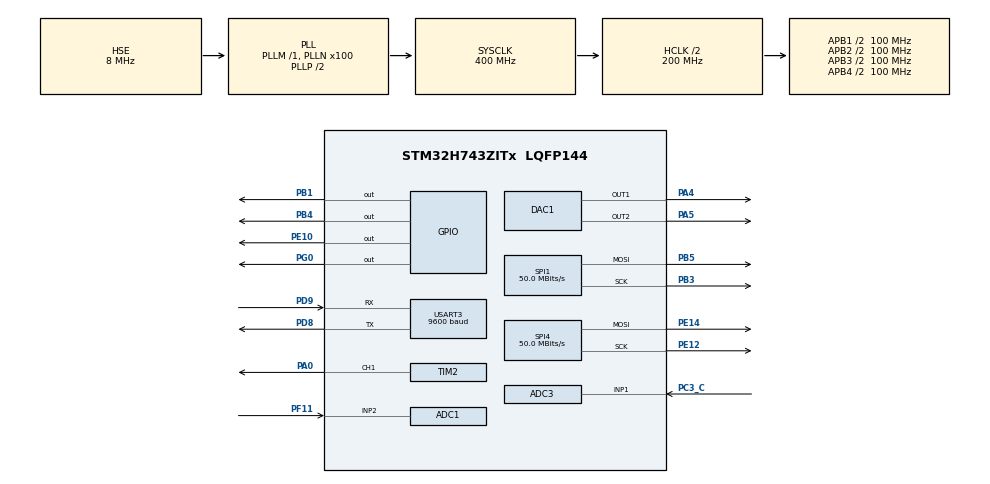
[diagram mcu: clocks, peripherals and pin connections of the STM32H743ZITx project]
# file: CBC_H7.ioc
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ADC1.BoostMode=DISABLE
ADC1.Channel-0\#ChannelRegularConversion=ADC_CHANNEL_2
ADC1.ClockPrescaler=ADC_CLOCK_ASYNC_DIV1
ADC1.ContinuousConvMode=ENABLE
ADC1.ConversionDataManagement=ADC_CONVERSIONDATA_DMA_CIRCULAR
ADC1.DiscontinuousConvMode=DISABLE
ADC1.EOCSelection=ADC_EOC_SINGLE_CONV
ADC1.EnableAnalogWatchDog1=false
ADC1.EnableAnalogWatchDog2=false
ADC1.EnableAnalogWatchDog3=false
ADC1.EnableInjectedConversion=DISABLE
ADC1.EnableRegularConversion=ENABLE
ADC1.ExternalTrigConv=ADC_SOFTWARE_START
ADC1.ExternalTrigConvEdge=ADC_EXTERNALTRIGCONVEDGE_NONE
ADC1.LeftBitShift=ADC_LEFTBITSHIFT_NONE
ADC1.LowPowerAutoWait=DISABLE
ADC1.NbrOfConversion=1
ADC1.NbrOfConversionFlag=1
ADC1.OffsetNumber-0\#ChannelRegularConversion=ADC_OFFSET_NONE
ADC1.Overrun=ADC_OVR_DATA_PRESERVED
ADC1.OversamplingMode=DISABLE
ADC1.Rank-0\#ChannelRegularConversion=1
ADC1.Resolution=ADC_RESOLUTION_16B
ADC1.SamplingTime-0\#ChannelRegularConversion=ADC_SAMPLETIME_1CYCLE_5
ADC1.ScanConvMode=ADC_SCAN_DISABLE
ADC1.master=1
ADC3.Channel-3\#ChannelRegularConversion=ADC_CHANNEL_1
ADC3.NbrOfConversionFlag=1
ADC3.OffsetNumber-3\#ChannelRegularConversion=ADC_OFFSET_NONE
ADC3.Rank-3\#ChannelRegularConversion=1
ADC3.SamplingTime-3\#ChannelRegularConversion=ADC_SAMPLETIME_1CYCLE_5
CORTEX_M7.CPU_DCache=Disabled
DAC1.DAC_Channel-DAC_OUT1=DAC_CHANNEL_1
DAC1.DAC_Channel-DAC_OUT2=DAC_CHANNEL_2
DAC1.DAC_Trigger-DAC_OUT1=DAC_TRIGGER_T2_TRGO
DAC1.DAC_Trigger-DAC_OUT2=DAC_TRIGGER_T2_TRGO
Dma.ADC1.0.Direction=DMA_PERIPH_TO_MEMORY
Dma.ADC1.0.EventEnable=DISABLE
Dma.ADC1.0.FIFOMode=DMA_FIFOMODE_DISABLE
Dma.ADC1.0.Instance=DMA1_Stream0
Dma.ADC1.0.MemDataAlignment=DMA_MDATAALIGN_WORD
Dma.ADC1.0.MemInc=DMA_MINC_ENABLE
Dma.ADC1.0.Mode=DMA_CIRCULAR
Dma.ADC1.0.PeriphDataAlignment=DMA_PDATAALIGN_WORD
Dma.ADC1.0.PeriphInc=DMA_PINC_DISABLE
Dma.ADC1.0.Polarity=HAL_DMAMUX_REQ_GEN_RISING
Dma.ADC1.0.Priority=DMA_PRIORITY_VERY_HIGH
Dma.ADC1.0.RequestNumber=1
Dma.ADC1.0.SignalID=NONE
Dma.ADC1.0.SyncEnable=DISABLE
Dma.ADC1.0.SyncPolarity=HAL_DMAMUX_SYNC_NO_EVENT
Dma.ADC1.0.SyncRequestNumber=1
Dma.ADC1.0.SyncSignalID=NONE
Dma.Request0=ADC1
Dma.Request1=USART3_RX
Dma.Request2=USART3_TX
Dma.USART3_RX.1.Direction=DMA_PERIPH_TO_MEMORY
Dma.USART3_RX.1.EventEnable=DISABLE
Dma.USART3_RX.1.FIFOMode=DMA_FIFOMODE_DISABLE
Dma.USART3_RX.1.Instance=DMA1_Stream1
Dma.USART3_RX.1.MemDataAlignment=DMA_MDATAALIGN_BYTE
Dma.USART3_RX.1.MemInc=DMA_MINC_ENABLE
Dma.USART3_RX.1.Mode=DMA_CIRCULAR
Dma.USART3_RX.1.PeriphDataAlignment=DMA_PDATAALIGN_BYTE
Dma.USART3_RX.1.PeriphInc=DMA_PINC_DISABLE
Dma.USART3_RX.1.Polarity=HAL_DMAMUX_REQ_GEN_RISING
Dma.USART3_RX.1.Priority=DMA_PRIORITY_LOW
Dma.USART3_RX.1.RequestNumber=1
Dma.USART3_RX.1.SignalID=NONE
Dma.USART3_RX.1.SyncEnable=DISABLE
Dma.USART3_RX.1.SyncPolarity=HAL_DMAMUX_SYNC_NO_EVENT
Dma.USART3_RX.1.SyncRequestNumber=1
Dma.USART3_RX.1.SyncSignalID=NONE
Dma.USART3_TX.2.Direction=DMA_MEMORY_TO_PERIPH
Dma.USART3_TX.2.EventEnable=DISABLE
Dma.USART3_TX.2.FIFOMode=DMA_FIFOMODE_DISABLE
Dma.USART3_TX.2.Instance=DMA1_Stream2
Dma.USART3_TX.2.MemDataAlignment=DMA_MDATAALIGN_BYTE
Dma.USART3_TX.2.MemInc=DMA_MINC_ENABLE
Dma.USART3_TX.2.Mode=DMA_NORMAL
Dma.USART3_TX.2.PeriphDataAlignment=DMA_PDATAALIGN_BYTE
Dma.USART3_TX.2.PeriphInc=DMA_PINC_DISABLE
Dma.USART3_TX.2.Polarity=HAL_DMAMUX_REQ_GEN_RISING
Dma.USART3_TX.2.Priority=DMA_PRIORITY_LOW
Dma.USART3_TX.2.RequestNumber=1
Dma.USART3_TX.2.SignalID=NONE
Dma.USART3_TX.2.SyncEnable=DISABLE
Dma.USART3_TX.2.SyncPolarity=HAL_DMAMUX_SYNC_NO_EVENT
Dma.USART3_TX.2.SyncRequestNumber=1
Dma.USART3_TX.2.SyncSignalID=NONE
Mcu.Family=STM32H7
Mcu.Name=STM32H743ZITx
Mcu.Package=LQFP144
NVIC.DMA1_Stream0_IRQn=true\:2\:0\:true\:false\:true\:false\:true
NVIC.DMA1_Stream1_IRQn=true\:0\:0\:false\:false\:true\:false\:true
NVIC.DMA1_Stream2_IRQn=true\:1\:0\:true\:false\:true\:false\:true
NVIC.PriorityGroup=NVIC_PRIORITYGROUP_4
NVIC.TIM2_IRQn=true\:1\:0\:true\:false\:true\:true\:true
NVIC.USART3_IRQn=true\:0\:0\:true\:false\:true\:true\:true
PA0.Signal=S_TIM2_CH1
PA13\ (JTMS/SWDIO).Mode=Serial_Wire
PA13\ (JTMS/SWDIO).Signal=DEBUG_JTMS-SWDIO
PA14\ (JTCK/SWCLK).Mode=Serial_Wire
PA14\ (JTCK/SWCLK).Signal=DEBUG_JTCK-SWCLK
PA4.Signal=COMP_DAC11_group
PA5.Signal=COMP_DAC12_group
PB1.GPIO_ModeDefaultOutputPP=GPIO_MODE_OUTPUT_PP
PB1.GPIO_PuPd=GPIO_PULLDOWN
PB1.GPIO_Speed=GPIO_SPEED_FREQ_VERY_HIGH
PB1.Signal=GPIO_Output
PB3\ (JTDO/TRACESWO).Mode=TX_Only_Simplex_Unidirect_Master
PB3\ (JTDO/TRACESWO).Signal=SPI1_SCK
PB4\ (NJTRST).GPIO_Speed=GPIO_SPEED_FREQ_HIGH
PB4\ (NJTRST).PinState=GPIO_PIN_SET
PB4\ (NJTRST).Signal=GPIO_Output
PB5.Mode=TX_Only_Simplex_Unidirect_Master
PB5.Signal=SPI1_MOSI
PC3_C.Mode=IN1-Single-Ended
PC3_C.Signal=ADC3_INP1
PD8.Mode=Asynchronous
PD8.Signal=USART3_TX
PD9.Mode=Asynchronous
PD9.Signal=USART3_RX
PE10.PinState=GPIO_PIN_SET
PE10.Signal=GPIO_Output
PE12.Mode=TX_Only_Simplex_Unidirect_Master
PE12.Signal=SPI4_SCK
PE14.Mode=TX_Only_Simplex_Unidirect_Master
PE14.Signal=SPI4_MOSI
PF11.Mode=IN2-Single-Ended
PF11.Signal=ADC1_INP2
PG0.Signal=GPIO_Output
PH0-OSC_IN\ (PH0).Mode=HSE-External-Oscillator
PH0-OSC_IN\ (PH0).Signal=RCC_OSC_IN
PH1-OSC_OUT\ (PH1).Mode=HSE-External-Oscillator
PH1-OSC_OUT\ (PH1).Signal=RCC_OSC_OUT
ProjectManager.HeapSize=0x3000
ProjectManager.StackSize=0x400
ProjectManager.TargetToolchain=TrueSTUDIO
RCC.ADCCLockSelection=RCC_ADCCLKSOURCE_PLL3
RCC.ADCFreq_Value=66666666.666666664
RCC.APB1Freq_Value=100000000
RCC.APB2Freq_Value=100000000
RCC.APB3Freq_Value=100000000
RCC.APB4Freq_Value=100000000
RCC.CortexFreq_Value=400000000
RCC.D1PPRE=RCC_APB3_DIV2
RCC.D2PPRE1=RCC_APB1_DIV2
RCC.D2PPRE2=RCC_APB2_DIV2
RCC.D3PPRE=RCC_APB4_DIV2
RCC.DIVM1=1
RCC.DIVM2=1
RCC.DIVM3=1
RCC.DIVN1=100
RCC.DIVN2=19
RCC.DIVN3=25
RCC.DIVP3=1
RCC.DIVR3=3
RCC.HCLKFreq_Value=200000000
RCC.HPRE=RCC_HCLK_DIV2
RCC.HSE_VALUE=8000000
RCC.PLL3FRACN=0
RCC.PLLFRACN=0
RCC.PLLSourceVirtual=RCC_PLLSOURCE_HSE
RCC.PWR_Regulator_Voltage_Scale=PWR_REGULATOR_VOLTAGE_SCALE1
RCC.RCC_TIM_PRescaler_Selection=RCC_TIMPRES_ACTIVATED
RCC.SPI123CLockSelection=RCC_SPI123CLKSOURCE_PLL3
RCC.SYSCLKFreq_VALUE=400000000
RCC.SYSCLKSource=RCC_SYSCLKSOURCE_PLLCLK
RCC.Tim1Mul=2
RCC.USBFreq_Value=400000000
SH.COMP_DAC11_group.0=DAC1_OUT1,DAC_OUT1
SH.COMP_DAC12_group.0=DAC1_OUT2,DAC_OUT2
SH.S_TIM2_CH1.0=TIM2_CH1,PWM Generation1 CH1
SPI1.BaudRatePrescaler=SPI_BAUDRATEPRESCALER_4
SPI1.CalculateBaudRate=50.0 MBits/s
SPI1.DataSize=SPI_DATASIZE_16BIT
SPI1.Direction=SPI_DIRECTION_2LINES_TXONLY
SPI1.MasterInterDataIdleness=SPI_MASTER_INTERDATA_IDLENESS_00CYCLE
SPI1.Mode=SPI_MODE_MASTER
SPI1.NSSPMode=SPI_NSS_PULSE_DISABLE
SPI1.VirtualType=VM_MASTER
SPI4.BaudRatePrescaler=SPI_BAUDRATEPRESCALER_2
SPI4.CLKPolarity=SPI_POLARITY_HIGH
SPI4.CalculateBaudRate=50.0 MBits/s
SPI4.Direction=SPI_DIRECTION_2LINES_TXONLY
SPI4.Mode=SPI_MODE_MASTER
SPI4.VirtualType=VM_MASTER
TIM2.Channel-PWM\ Generation1\ CH1=TIM_CHANNEL_1
TIM2.Pulse-PWM\ Generation1\ CH1=2
TIM2.TIM_MasterOutputTrigger=TIM_TRGO_UPDATE
USART3.BaudRate=9600
USART3.VirtualMode-Asynchronous=VM_ASYNC
VP_TIM2_VS_ClockSourceINT.Mode=Internal
board=custom

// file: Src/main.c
/* USER CODE BEGIN Header */
/**
  ******************************************************************************
  * @file           : main.c
  * @brief          : Main program body
  ******************************************************************************
  * @attention
  *
  * <h2><center>&copy; Copyright (c) 2021 STMicroelectronics.
  * All rights reserved.</center></h2>
  *
  * This software component is licensed by ST under BSD 3-Clause license,
  * the "License"; You may not use this file except in compliance with the
  * License. You may obtain a copy of the License at:
  *                        opensource.org/licenses/BSD-3-Clause
  *
  ******************************************************************************
  */
/* USER CODE END Header */
#include "main.h"
#include "adc.h"
#include "dac.h"
#include "dma.h"
#include "spi.h"
#include "tim.h"
#include "usart.h"
#include "gpio.h"

/* USER CODE BEGIN PV */
#define DAC_ALIGNMENT DAC_ALIGN_12B_R
#define hdac hdac1
#define TIM2PSC 0
uint32_t adc_value=0;
uint32_t dacvalue=0;
double volt_value=0;
uint32_t Tim2ARR;
uint32_t ADCBuf[2];
uint16_t  pData; //{0x7530};  //3952
uint32_t   acValBuffer;
uint16_t DACoutput1;
uint16_t DACoutput2;
uint16_t li;
double paramFreq;
double   PT_Anf=0;
double   PT_End =0;
double   duration =0;
tPID* 		 pPID1       =   &InstancePID1;
tPID* 		 pPID2       =   &InstancePID2;
uint8_t PIDInputOption = 1;
double LockInOutput = 0.0;
double yout;
uint16_t charI[16];
uint16_t hexString;
uint16_t pdata;
uint16_t li;
uint16_t spi_data = 0x0;
__IO uint16_t *ptxdr_16bits = (uint16_t*)&SPI1->TXDR; // for 16-bit-write

/* USER CODE END PV */

void SystemClock_Config(void);
void PeriphCommonClock_Config(void);

/* USER CODE BEGIN 0 */
void HAL_TIM_PeriodElapsedCallback(TIM_HandleTypeDef *htim)
{
		PT_Anf =PT_End;
		adc_value =(float)ADCBuf[0];
		volt_value=3.3f*((float)(adc_value)/65536); // single ended mode
		PID_Calc(pPID1,PIDInputOption, volt_value,LockInOutput);
		DACoutput1 = (uint16_t)(InstancePID1.outvalue*VOLT2DIG12BIT);
		DACoutput2 = (uint16_t)(InstancePID1.outvalue*VOLT2DIG12BIT);
		HAL_GPIO_TogglePin(GPIOG,GPIO_PIN_0);
		//HAL_DAC_SetValue(&hdac, DAC_CHANNEL_1, DAC_ALIGNMENT, (uint32_t)DACoutput1);
		//HAL_DAC_SetValue(&hdac, DAC_CHANNEL_2, DAC_ALIGNMENT, (uint32_t)DACoutput1);
		//HAL_StatusTypeDef HAL_SPI_TransmitReceive(SPI_HandleTypeDef *hspi, uint8_t *pTxData, uint8_t *pRxData, uint16_t Size,

		//pData = (uint16_t)ADCBuf[0];

		//itoa(pData, hexString, 16);
/*		__IO uint16_t *ptxdr_16bits = (uint16_t*)&SPI1->TXDR; // for 16-bit-write
		SPI1->CR1 |= SPI_CR1_SPE_Msk;    // enable SPI
		SPI1->CR1 |= SPI_CR1_CSTART_Msk; // master transfer start
		while (1)
		  {
		         GPIOB->BSRR = GPIO_PIN_4 << 16; // Reset
		         *ptxdr_16bits = pData++;
		         while( !(SPI1->SR & SPI_SR_TXC_Msk));  // check if FiFo transmission complete
		         GPIOB->BSRR = GPIO_PIN_4; // Set
		  }*/

		//HAL_GPIO_WritePin(GPIOB, GPIO_PIN_4, GPIO_PIN_RESET);
		//HAL_SPI_Transmit(&hspi1, (uint8_t *)pData, 1, 1);
		//HAL_GPIO_WritePin(GPIOB, GPIO_PIN_4, GPIO_PIN_SET);
		if (li<2)
		{
			li +=1;
			spi_data=0xAAAA;
		}
		else if (li>=2 && li<3)
		{
			li +=1;
			spi_data =0x000F;
		}
		else
		{
			li =0;
		}
		SPI1_transmit(spi_data);
		PT_End =DWT->CYCCNT;
		duration = PT_End-PT_Anf;
        HAL_GPIO_WritePin(GPIOB,GPIO_PIN_1, GPIO_PIN_RESET);
}
/* USER CODE END 0 */

int main(void)
{

  /* MCU Configuration--------------------------------------------------------*/

  /* Reset of all peripherals, Initializes the Flash interface and the Systick. */
  HAL_Init();

  /* Configure the system clock */
  SystemClock_Config();

/* Configure the peripherals common clocks */
  PeriphCommonClock_Config();

  /* Initialize all configured peripherals */
  MX_GPIO_Init();
  MX_DMA_Init();
  MX_DAC1_Init();
  MX_ADC1_Init();
  MX_USART3_UART_Init();
  MX_ADC3_Init();
  MX_TIM2_Init();
  MX_SPI1_Init();
  MX_SPI4_Init();
  /* USER CODE BEGIN 2 */
  CoreDebug->DEMCR |= CoreDebug_DEMCR_TRCENA_Msk;
  DWT->CTRL |= 1;
  Tim2ARR=200e6 / CTRLFREQUENCY-1;
  __HAL_TIM_SET_PRESCALER(&htim2, TIM2PSC);
  __HAL_TIM_SET_AUTORELOAD(&htim2,  Tim2ARR);
  paramFreq = CTRLFREQUENCY;
  PID_vInit(pPID1);
  /* USER CODE BEGIN 1 */
	 // HAL_TIM_PWM_Start(&htim4, TIM_CHANNEL_1);
  //HAL_TIM_PWM_Start(&htim2, TIM_CHANNEL_1);
	      /* Start DAC */
  //HAL_ADC_Start_DMA(&hadc1,ADCBuf,2);
  SPI1_start();
  HAL_TIM_Base_Start_IT(&htim2);
  //HAL_DAC_Start(&hdac, DAC_CHANNEL_2);
  //HAL_DAC_Start(&hdac, DAC_CHANNEL_1);
  //HAL_UART_Receive_DMA(&huart3,aRxBuffer,RXBUFFERSIZE);
 // HAL_SPI_Transmit_DMA(&hspi1, pData,2);
  /* USER CODE END 2 */

  /* Infinite loop */
  while (1)
  {

  }
}

void SystemClock_Config(void)
{
  RCC_OscInitTypeDef RCC_OscInitStruct = {0};
  RCC_ClkInitTypeDef RCC_ClkInitStruct = {0};

  /** Supply configuration update enable
  */
  HAL_PWREx_ConfigSupply(PWR_LDO_SUPPLY);
  /** Configure the main internal regulator output voltage
  */
  __HAL_PWR_VOLTAGESCALING_CONFIG(PWR_REGULATOR_VOLTAGE_SCALE1);

  while(!__HAL_PWR_GET_FLAG(PWR_FLAG_VOSRDY)) {}
  /** Macro to configure the PLL clock source
  */
  __HAL_RCC_PLL_PLLSOURCE_CONFIG(RCC_PLLSOURCE_HSE);
  /** Initializes the RCC Oscillators according to the specified parameters
  * in the RCC_OscInitTypeDef structure.
  */
  RCC_OscInitStruct.OscillatorType = RCC_OSCILLATORTYPE_HSE;
  RCC_OscInitStruct.HSEState = RCC_HSE_ON;
  RCC_OscInitStruct.PLL.PLLState = RCC_PLL_ON;
  RCC_OscInitStruct.PLL.PLLSource = RCC_PLLSOURCE_HSE;
  RCC_OscInitStruct.PLL.PLLM = 1;
  RCC_OscInitStruct.PLL.PLLN = 100;
  RCC_OscInitStruct.PLL.PLLP = 2;
  RCC_OscInitStruct.PLL.PLLQ = 2;
  RCC_OscInitStruct.PLL.PLLR = 2;
  RCC_OscInitStruct.PLL.PLLRGE = RCC_PLL1VCIRANGE_3;
  RCC_OscInitStruct.PLL.PLLVCOSEL = RCC_PLL1VCOWIDE;
  RCC_OscInitStruct.PLL.PLLFRACN = 0;
  if (HAL_RCC_OscConfig(&RCC_OscInitStruct) != HAL_OK)
  {
    Error_Handler();
  }
  /** Initializes the CPU, AHB and APB buses clocks
  */
  RCC_ClkInitStruct.ClockType = RCC_CLOCKTYPE_HCLK|RCC_CLOCKTYPE_SYSCLK
                              |RCC_CLOCKTYPE_PCLK1|RCC_CLOCKTYPE_PCLK2
                              |RCC_CLOCKTYPE_D3PCLK1|RCC_CLOCKTYPE_D1PCLK1;
  RCC_ClkInitStruct.SYSCLKSource = RCC_SYSCLKSOURCE_PLLCLK;
  RCC_ClkInitStruct.SYSCLKDivider = RCC_SYSCLK_DIV1;
  RCC_ClkInitStruct.AHBCLKDivider = RCC_HCLK_DIV2;
  RCC_ClkInitStruct.APB3CLKDivider = RCC_APB3_DIV2;
  RCC_ClkInitStruct.APB1CLKDivider = RCC_APB1_DIV2;
  RCC_ClkInitStruct.APB2CLKDivider = RCC_APB2_DIV2;
  RCC_ClkInitStruct.APB4CLKDivider = RCC_APB4_DIV2;

  if (HAL_RCC_ClockConfig(&RCC_ClkInitStruct, FLASH_LATENCY_2) != HAL_OK)
  {
    Error_Handler();
  }
}

void PeriphCommonClock_Config(void)
{
  RCC_PeriphCLKInitTypeDef PeriphClkInitStruct = {0};

  /** Initializes the peripherals clock
  */
  PeriphClkInitStruct.PeriphClockSelection = RCC_PERIPHCLK_ADC|RCC_PERIPHCLK_SPI1
                              |RCC_PERIPHCLK_TIM;
  PeriphClkInitStruct.PLL3.PLL3M = 1;
  PeriphClkInitStruct.PLL3.PLL3N = 25;
  PeriphClkInitStruct.PLL3.PLL3P = 1;
  PeriphClkInitStruct.PLL3.PLL3Q = 2;
  PeriphClkInitStruct.PLL3.PLL3R = 3;
  PeriphClkInitStruct.PLL3.PLL3RGE = RCC_PLL3VCIRANGE_3;
  PeriphClkInitStruct.PLL3.PLL3VCOSEL = RCC_PLL3VCOWIDE;
  PeriphClkInitStruct.PLL3.PLL3FRACN = 0;
  PeriphClkInitStruct.Spi123ClockSelection = RCC_SPI123CLKSOURCE_PLL3;
  PeriphClkInitStruct.AdcClockSelection = RCC_ADCCLKSOURCE_PLL3;
  PeriphClkInitStruct.TIMPresSelection = RCC_TIMPRES_ACTIVATED;

  if (HAL_RCCEx_PeriphCLKConfig(&PeriphClkInitStruct) != HAL_OK)
  {
    Error_Handler();
  }
}

/* USER CODE BEGIN 4 */
void HAL_TIM_IRQHandler1(TIM_HandleTypeDef *htim)
{

  /* TIM Update event */
  if(__HAL_TIM_GET_FLAG(htim, TIM_FLAG_UPDATE) != RESET)
  {
    if(__HAL_TIM_GET_IT_SOURCE(htim, TIM_IT_UPDATE) !=RESET)
    {
      __HAL_TIM_CLEAR_IT(htim, TIM_IT_UPDATE);
      HAL_TIM_PeriodElapsedCallback(htim);
    }
  }
}
/* USER CODE END 4 */

void Error_Handler(void)
{
  __disable_irq();
  while (1)
  {
  }
}

float PIDInputSWitch(uint8_t PIDInputOption, float ADCvalue,float LockIn)
{
	 float PIDInput;
	 if (PIDInputOption == 0)
			 {
	 	 	 	 PIDInput=LockIn;
			 }
	else
			{
				PIDInput =ADCvalue;
			}
	 return(PIDInput);
}
void PID_vInit(tPID* pPID)
{                                          ///< Zeiger auf Reglerstruktur
	pPID->_Ts 				= 		1/CTRLFREQUENCY;
	pPID-> _Kp				= 		0.2;
	pPID-> _Ki				= 		0;
	pPID-> _Kd				= 		0.0;
	pPID-> _max				= 		3;
	pPID-> _min				= 		-3;
	pPID-> _Kaw				= 		0.0;
	pPID-> _EnKc			= 		1;
	pPID-> _fc				= 		10;
    pPID-> _PIDHold			= 		0.0;
	pPID->error             =        0;
	pPID->error_1lag        =        0;
	pPID->error_2lag        =        0;
	pPID->error_AnWi        =        0;
	pPID->preout            =        0;
	pPID->_kt               =        -1;
	pPID->En                =        1.0;
	pPID->ref               =       0.0;
	pPID->a0                =        0.0;
	pPID->a1 				= 		0.0;
	pPID->a2      			= 		0.0;
	pPID->aw				=		0.0;
	pPID->omega 			=		0;
	pPID->a0 				= 		pPID-> _Kp+pPID-> _Kd/V2MUV/pPID->_Ts+pPID->_Ki*V2MV*pPID->_Ts;
	pPID->a1 				= 		-(pPID-> _Kp+pPID-> _Kd/V2MUV/pPID->_Ts*2.0);
	pPID->a2 				=		pPID->_Kd/V2MUV/pPID->_Ts;
	pPID->aw   				=		pPID->_Kaw*pPID->_Ts;
};
void PID_Calc(tPID* pPID,uint8_t PIDInputOption, double ADCvalue,double LockIn)
{
	double 			output;
	double 			outputsat;
	double          pd;
	pd          				= 	PIDInputSWitch(PIDInputOption, ADCvalue, LockIn);
	pPID->error = (pPID->ref - pd)*pPID->_kt;
	if (pPID->En>=1)
	{
		output = (pPID->preout+pPID->a0*pPID->error + pPID->a1*pPID->error_1lag + pPID->a2*pPID->error_2lag+pPID->aw*pPID->error_AnWi)/(1+pPID->omega*pPID->_Ts);
	}
	else
	{
		output = 0;
		pPID->error             =        0;
		pPID->error_1lag        =        0;
		pPID->error_2lag        =        0;
		pPID->preout            =        0;
	}
//	if( output > pPID->_max*3)
//		{
//		   output = 3*pPID->_max;
//		}
//	if( output < pPID->_min*3 )
//			{
//			   output = 3*pPID->_min;
//			}
	pPID->preout = output;
	    // Restrict to max/min
	if( output > pPID->_max )
	{
	   outputsat = pPID->_max;
	}
	else if( output < pPID->_min )
	{
	   outputsat = pPID->_min;
	}
	else
	{
	   outputsat = output;
	}
	pPID->error_AnWi              =   outputsat-output;
	    // Save error to previous error
	pPID->error_2lag = pPID->error_1lag;
	pPID->error_1lag = pPID->error;
//   tty3 =Kd/pPID->_Ts;
	pPID->outvalue= outputsat;
}
void SPI1_start()
{
	  HAL_GPIO_WritePin(GPIOB, GPIO_PIN_4, GPIO_PIN_SET);
	  SPI1->CR1 |= SPI_CR1_SPE_Msk;    // enable SPI
	  SPI1->CR1 |= SPI_CR1_CSTART_Msk; // master transfer start

}
void SPI1_transmit(uint16_t data)
{
    GPIOB->BSRR = GPIO_PIN_4 << 16; // Reset
    *ptxdr_16bits = data;
    while( !(SPI1->SR & SPI_SR_TXC_Msk));  // check if FiFo transmission complete
    GPIOB->BSRR = GPIO_PIN_4; // Set

}

/************************ (C) COPYRIGHT STMicroelectronics *****END OF FILE****/
